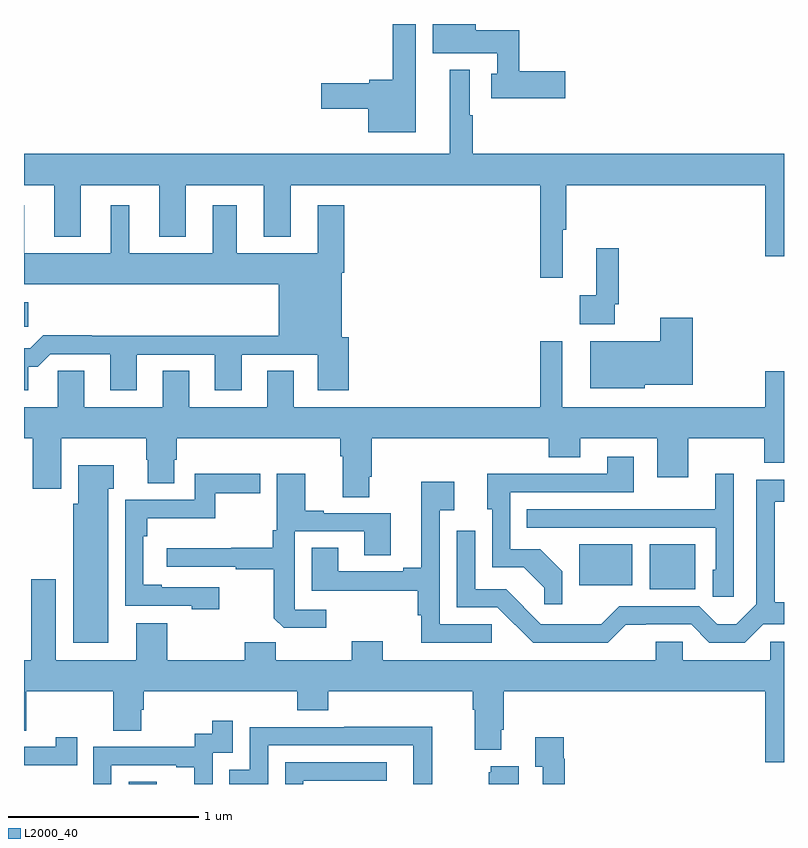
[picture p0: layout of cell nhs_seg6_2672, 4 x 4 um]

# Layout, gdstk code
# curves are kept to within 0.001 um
import gdstk
lib = gdstk.Library(unit=1e-6, precision=1e-09)
def R(c, l, rs):  # rectangles x0, y0, x1, y1
    for r in rs: c.add(gdstk.rectangle(r[:2], r[2:], *l))
def P(c, l, *ps):  # polygons
    for p in ps: c.add(gdstk.Polygon(p, *l))
L2000_40 = (2000, 40)

nhs_seg6_2672 = lib.new_cell('nhs_seg6_2672')
R(nhs_seg6_2672, L2000_40, [(269.55,961.5,269.698,961.513), (272.294,962.525,272.533,962.761), (271.922,962.546,272.2,962.761), (269,963.907,269.023,964.036)])
P(nhs_seg6_2672, L2000_40, [(271.849,965.252),(271.607,965.252),(271.607,965.468),(271.378,965.468),(271.378,965.5),(271.151,965.5),(271.151,965.345),(271.491,965.345),(271.491,965.239),(271.46,965.239),(271.46,965.11),(271.849,965.11)],
  [(271.063,965.5),(270.942,965.5),(270.942,965.207),(270.816,965.207),(270.816,965.189),(270.564,965.189),(270.564,965.054),(270.812,965.054),(270.812,964.931),(271.063,964.931)],
  [(271.835,964.416),(271.853,964.416),(271.853,964.652),(272.9,964.652),(272.9,964.278),(273,964.278),(273,964.816),(271.363,964.816),(271.363,965.021),(271.345,965.021),(271.345,965.26),(271.241,965.26),(271.241,964.816),(269,964.816),(269,964.652),(269.159,964.652),(269.159,964.379),(269.299,964.379),(269.299,964.652),(269.711,964.652),(269.711,964.379),(269.851,964.379),(269.851,964.652),(270.263,964.652),(270.263,964.379),(270.403,964.379),(270.403,964.652),(271.717,964.652),(271.717,964.164),(271.835,964.164)],
  [(269.023,963.695),(269.072,963.695),(269.139,963.762),(269.453,963.762),(269.453,963.573),(269.593,963.573),(269.593,963.759),(270.005,963.759),(270.005,963.573),(270.145,963.573),(270.145,963.759),(270.545,963.759),(270.545,963.573),(270.71,963.573),(270.71,963.852),(270.673,963.852),(270.673,964.19),(270.686,964.19),(270.686,964.546),(270.545,964.546),(270.545,964.294),(270.121,964.294),(270.121,964.546),(269.993,964.546),(269.993,964.294),(269.554,964.294),(269.554,964.546),(269.456,964.546),(269.456,964.294),(269.002,964.294),(269.002,964.546),(269,964.546),(269,964.13),(270.341,964.13),(270.341,963.86),(269.357,963.86),(269.357,963.863),(269.102,963.863),(269.032,963.793),(269,963.793),(269,963.573),(269.023,963.573)],
  [(272.109,964.024),(272.129,964.024),(272.129,964.321),(272.012,964.321),(272.012,964.073),(271.926,964.073),(271.926,963.92),(272.109,963.92)],
  [(272.268,963.602),(272.519,963.602),(272.519,963.955),(272.348,963.955),(272.348,963.829),(271.979,963.829),(271.979,963.584),(272.268,963.584)],
  [(270.817,963.118),(270.83,963.118),(270.83,963.32),(271.763,963.32),(271.763,963.221),(271.927,963.221),(271.927,963.32),(272.333,963.32),(272.333,963.114),(272.497,963.114),(272.497,963.32),(272.897,963.32),(272.897,963.192),(273,963.192),(273,963.673),(272.9,963.673),(272.9,963.484),(271.834,963.484),(271.834,963.829),(271.717,963.829),(271.717,963.484),(270.421,963.484),(270.421,963.674),(270.281,963.674),(270.281,963.484),(269.869,963.484),(269.869,963.674),(269.729,963.674),(269.729,963.484),(269.317,963.484),(269.317,963.674),(269.178,963.674),(269.178,963.484),(269,963.484),(269,963.32),(269.045,963.32),(269.045,963.054),(269.197,963.054),(269.197,963.32),(269.644,963.32),(269.644,963.207),(269.651,963.207),(269.651,963.082),(269.791,963.082),(269.791,963.207),(269.804,963.207),(269.804,963.32),(270.665,963.32),(270.665,963.224),(270.677,963.224),(270.677,963.01),(270.817,963.01)],
  [(271.833,962.62),(271.717,962.736),(271.56,962.736),(271.56,963.036),(272.209,963.036),(272.209,963.223),(272.069,963.223),(272.069,963.132),(271.657,963.132),(271.657,963.134),(271.439,963.134),(271.439,962.946),(271.464,962.946),(271.464,962.64),(271.63,962.64),(271.738,962.532),(271.738,962.445),(271.833,962.445)],
  [(269.443,963.053),(269.473,963.053),(269.473,963.178),(269.285,963.178),(269.285,962.976),(269.258,962.976),(269.258,962.243),(269.443,962.243)],
  [(270.028,962.535),(269.725,962.535),(269.725,962.548),(269.628,962.548),(269.628,962.804),(269.648,962.804),(269.648,962.9),(270.007,962.9),(270.007,963.031),(270.244,963.031),(270.244,963.134),(269.898,963.134),(269.898,962.997),(269.532,962.997),(269.532,962.439),(269.883,962.439),(269.883,962.42),(270.028,962.42)],
  [(270.592,962.418),(270.426,962.418),(270.426,962.829),(270.791,962.829),(270.791,962.704),(270.931,962.704),(270.931,962.925),(270.577,962.925),(270.577,962.938),(270.481,962.938),(270.481,963.133),(270.33,963.133),(270.33,962.836),(270.31,962.836),(270.31,962.744),(270.091,962.744),(270.091,962.74),(269.751,962.74),(269.751,962.643),(270.115,962.643),(270.115,962.631),(270.315,962.631),(270.315,962.373),(270.367,962.322),(270.592,962.322)],
  [(272.736,963.133),(272.639,963.133),(272.639,962.947),(272.305,962.947),(272.305,962.946),(271.645,962.946),(271.645,962.85),(272.64,962.85),(272.64,962.628),(272.624,962.628),(272.624,962.485),(272.736,962.485)],
  [(272.168,962.339),(272.511,962.34),(272.607,962.244),(272.794,962.244),(272.89,962.34),(273,962.34),(273,962.456),(272.95,962.456),(272.95,962.986),(273,962.986),(273,963.102),(272.853,963.102),(272.853,962.445),(272.749,962.341),(272.648,962.341),(272.553,962.436),(272.133,962.436),(272.039,962.342),(271.934,962.342),(271.934,962.34),(271.719,962.34),(271.629,962.43),(271.631,962.432),(271.537,962.526),(271.374,962.526),(271.374,962.833),(271.278,962.833),(271.278,962.43),(271.491,962.43),(271.679,962.244),(272.073,962.244)],
  [(271.461,962.34),(271.188,962.34),(271.188,962.942),(271.264,962.942),(271.264,963.091),(271.091,963.091),(271.091,962.639),(270.995,962.639),(270.995,962.619),(270.655,962.619),(270.655,962.744),(270.515,962.744),(270.515,962.518),(271.072,962.518),(271.072,962.387),(271.091,962.387),(271.091,962.244),(271.461,962.244)],
  [(269.591,962.347),(269.591,962.152),(269.167,962.152),(269.167,962.578),(269.039,962.578),(269.039,962.152),(269,962.152),(269,961.78),(269.013,961.78),(269.013,961.988),(269.47,961.988),(269.47,961.78),(269.617,961.78),(269.617,961.89),(269.63,961.89),(269.63,961.988),(270.437,961.988),(270.437,961.889),(270.602,961.889),(270.602,961.988),(271.361,961.988),(271.361,961.892),(271.373,961.892),(271.373,961.679),(271.513,961.679),(271.513,961.786),(271.526,961.786),(271.526,961.988),(272.9,961.988),(272.9,961.614),(273,961.614),(273,962.25),(272.928,962.25),(272.928,962.152),(272.466,962.152),(272.466,962.25),(272.324,962.25),(272.324,962.152),(270.889,962.152),(270.889,962.251),(270.725,962.251),(270.725,962.152),(270.325,962.152),(270.325,962.245),(270.161,962.245),(270.161,962.152),(269.755,962.152),(269.755,962.347)],
  [(269.46,961.599),(269.801,961.599),(269.801,961.587),(269.897,961.587),(269.897,961.5),(269.994,961.5),(269.994,961.665),(270.099,961.665),(270.099,961.834),(269.991,961.834),(269.991,961.764),(269.898,961.764),(269.898,961.695),(269.364,961.695),(269.364,961.5),(269.46,961.5)],
  [(270.285,961.704),(271.049,961.704),(271.049,961.5),(271.149,961.5),(271.149,961.802),(270.685,961.802),(270.685,961.8),(270.189,961.8),(270.189,961.575),(270.079,961.575),(270.079,961.5),(270.285,961.5)],
  [(271.847,961.634),(271.84,961.634),(271.84,961.747),(271.691,961.747),(271.691,961.591),(271.731,961.591),(271.731,961.5),(271.847,961.5)],
  [(269.279,961.747),(269.168,961.747),(269.168,961.695),(269,961.695),(269,961.599),(269.279,961.599)],
  [(270.471,961.518),(270.91,961.518),(270.91,961.614),(270.375,961.614),(270.375,961.5),(270.471,961.5)],
  [(271.603,961.594),(271.457,961.594),(271.457,961.563),(271.445,961.563),(271.445,961.5),(271.603,961.5)])

lib.write_gds('nhs_seg6_2672.gds')
